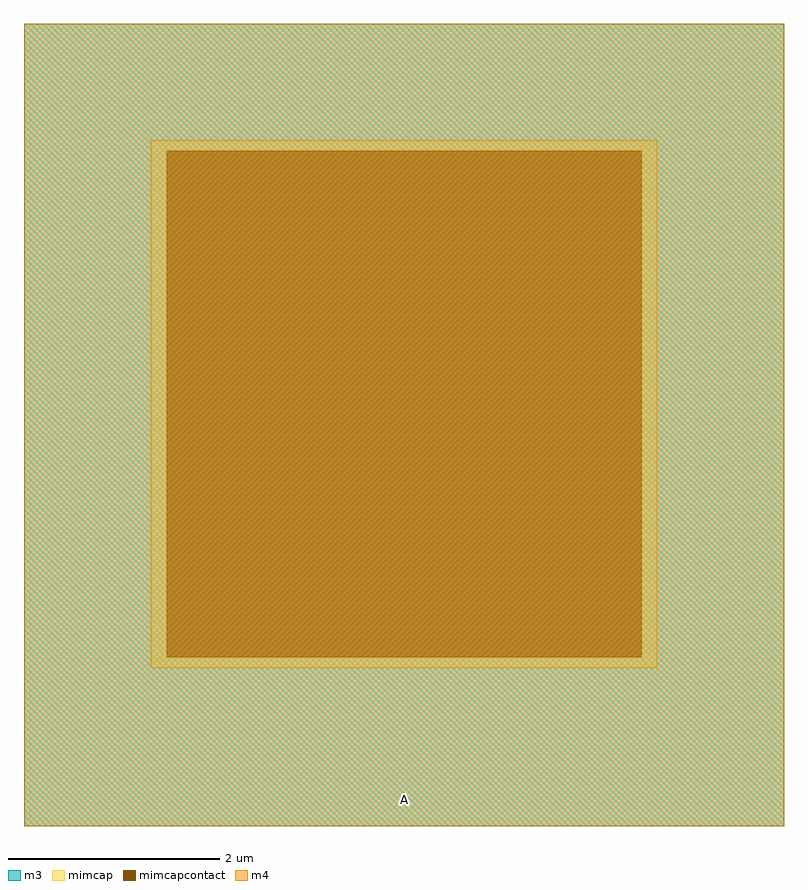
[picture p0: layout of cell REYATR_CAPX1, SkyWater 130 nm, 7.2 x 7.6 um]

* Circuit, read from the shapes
.subckt REYATR_CAPX1 A B
XC1 B A sky130_fd_pr__cap_mim_m3_1 w=4.8 l=5
.ends

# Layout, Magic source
magic
tech sky130A
magscale 1 2
<< m3 >>
rect 80 0 1520 100
rect 80 0 1520 100
rect 80 80 1520 1520
<< m4 >>
rect 80 0 1520 100
rect 80 0 1520 100
rect 80 80 1520 1520
<< mimcap >>
rect 320 300 1280 1300
<< mimcapcontact >>
rect 350 320 1250 1280
<< labels >>
flabel m3 s 80 0 1520 100 0 FreeSans 400 0 0 0 A
port 1 nsew signal bidirectional
flabel m4 s 80 0 1520 100 0 FreeSans 400 0 0 0 B
port 2 nsew signal bidirectional
<< properties >>
string FIXED_BBOX 0 0 1600 1600
<< end >>
